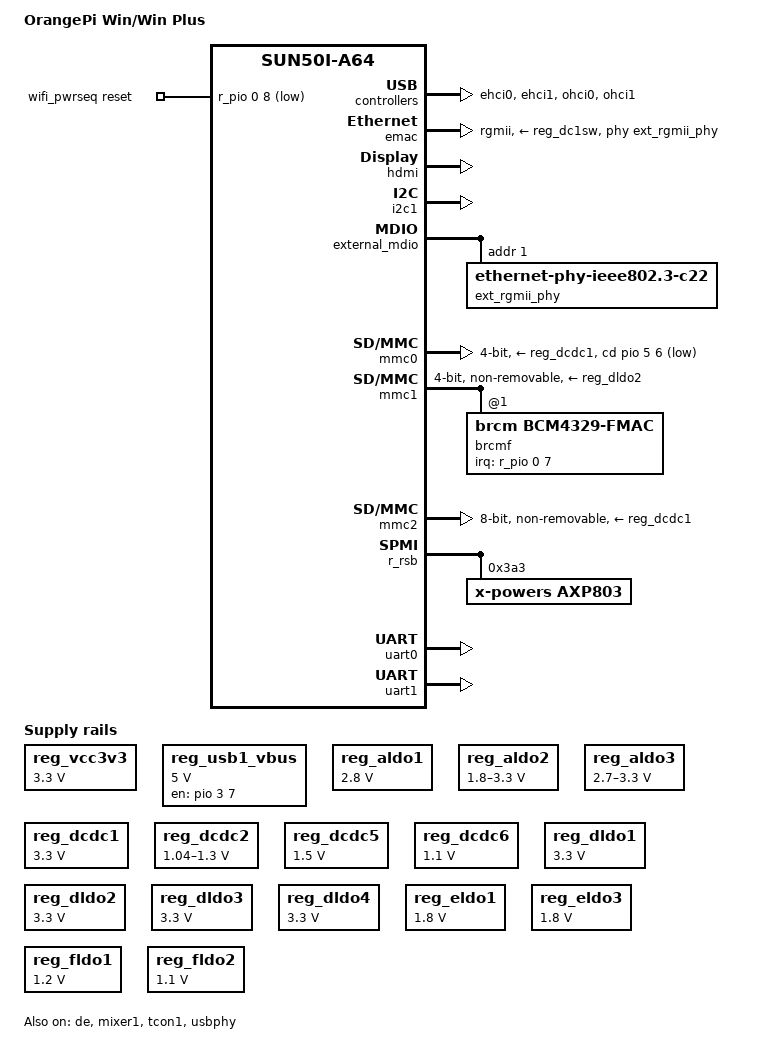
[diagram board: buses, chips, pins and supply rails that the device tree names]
/*
 * Copyright (C) 2017 Jagan Teki <jteki@openedev.com>
 *
 * This file is dual-licensed: you can use it either under the terms
 * of the GPL or the X11 license, at your option. Note that this dual
 * licensing only applies to this file, and not this project as a
 * whole.
 *
 *  a) This library is free software; you can redistribute it and/or
 *     modify it under the terms of the GNU General Public License as
 *     published by the Free Software Foundation; either version 2 of the
 *     License, or (at your option) any later version.
 *
 *     This library is distributed in the hope that it will be useful,
 *     but WITHOUT ANY WARRANTY; without even the implied warranty of
 *     MERCHANTABILITY or FITNESS FOR A PARTICULAR PURPOSE.  See the
 *     GNU General Public License for more details.
 *
 * Or, alternatively,
 *
 *  b) Permission is hereby granted, free of charge, to any person
 *     obtaining a copy of this software and associated documentation
 *     files (the "Software"), to deal in the Software without
 *     restriction, including without limitation the rights to use,
 *     copy, modify, merge, publish, distribute, sublicense, and/or
 *     sell copies of the Software, and to permit persons to whom the
 *     Software is furnished to do so, subject to the following
 *     conditions:
 *
 *     The above copyright notice and this permission notice shall be
 *     included in all copies or substantial portions of the Software.
 *
 *     THE SOFTWARE IS PROVIDED "AS IS", WITHOUT WARRANTY OF ANY KIND,
 *     EXPRESS OR IMPLIED, INCLUDING BUT NOT LIMITED TO THE WARRANTIES
 *     OF MERCHANTABILITY, FITNESS FOR A PARTICULAR PURPOSE AND
 *     NONINFRINGEMENT. IN NO EVENT SHALL THE AUTHORS OR COPYRIGHT
 *     HOLDERS BE LIABLE FOR ANY CLAIM, DAMAGES OR OTHER LIABILITY,
 *     WHETHER IN AN ACTION OF CONTRACT, TORT OR OTHERWISE, ARISING
 *     FROM, OUT OF OR IN CONNECTION WITH THE SOFTWARE OR THE USE OR
 *     OTHER DEALINGS IN THE SOFTWARE.
 */

/dts-v1/;

#include "sun50i-a64.dtsi"

#include <dt-bindings/gpio/gpio.h>

/ {
	model = "OrangePi Win/Win Plus";
	compatible = "xunlong,orangepi-win", "allwinner,sun50i-a64";

	aliases {
		ethernet0 = &emac;
		serial0 = &uart0;
		serial1 = &uart1;
	};

	chosen {
		stdout-path = "serial0:115200n8";
	};

	reg_vcc3v3: vcc3v3 {
		compatible = "regulator-fixed";
		regulator-name = "vcc3v3";
		regulator-min-microvolt = <3300000>;
		regulator-max-microvolt = <3300000>;
	};

	reg_usb1_vbus: usb1-vbus {
		compatible = "regulator-fixed";
		regulator-name = "usb1-vbus";
		regulator-min-microvolt = <5000000>;
		regulator-max-microvolt = <5000000>;
		regulator-boot-on;
		enable-active-high;
		gpio = <&pio 3 7 GPIO_ACTIVE_HIGH>;
		status = "okay";
	};

	wifi_pwrseq: wifi_pwrseq {
		compatible = "mmc-pwrseq-simple";
		reset-gpios = <&r_pio 0 8 GPIO_ACTIVE_LOW>; /* PL8 */
		post-power-on-delay-ms = <50>;
	};
};

&de {
	status = "okay";
};

&ehci0 {
	status = "okay";
};

&ehci1 {
	status = "okay";
};

&emac {
	pinctrl-names = "default";
	pinctrl-0 = <&rgmii_pins>;
	phy-mode = "rgmii";
	phy-handle = <&ext_rgmii_phy>;
	phy-supply = <&reg_dc1sw>;
	status = "okay";
};

&hdmi {
	hvcc-supply = <&reg_dldo1>;
	status = "okay";
};

&i2c1 {
	pinctrl-names = "default";
	pinctrl-0 = <&i2c1_pins>;
	status = "okay";
};

&i2c1_pins {
	bias-pull-up;
};

&external_mdio {
	ext_rgmii_phy: ethernet-phy@1 {
		compatible = "ethernet-phy-ieee802.3-c22";
		reg = <1>;
	};
};

&mixer1 {
	status = "okay";
};

&mmc0 {
	pinctrl-names = "default";
	pinctrl-0 = <&mmc0_pins>;
	vmmc-supply = <&reg_dcdc1>;
	cd-gpios = <&pio 5 6 GPIO_ACTIVE_HIGH>;
	cd-inverted;
	disable-wp;
	bus-width = <4>;
	status = "okay";
};

&mmc1 {
	pinctrl-names = "default";
	pinctrl-0 = <&mmc1_pins>;
	vmmc-supply = <&reg_dldo2>;
	vqmmc-supply = <&reg_dldo4>;
	mmc-pwrseq = <&wifi_pwrseq>;
	bus-width = <4>;
	non-removable;
	status = "okay";

	brcmf: brcmf@1 {
		reg = <1>;
		compatible = "brcm,bcm4329-fmac";
		interrupt-parent = <&r_pio>;
		interrupts = <0 7 IRQ_TYPE_LEVEL_LOW>; /* PL7 / EINT7 */
		interrupt-names = "host-wake";
	};
};

&mmc2 {
	pinctrl-names = "default";
	pinctrl-0 = <&mmc2_pins>;
	vmmc-supply = <&reg_dcdc1>;
	bus-width = <8>;
	non-removable;
	cap-mmc-hw-reset;
	status = "okay";
};

&ohci0 {
	status = "okay";
};

&ohci1 {
	status = "okay";
};

&r_rsb {
        status = "okay";

        axp803: pmic@3a3 {
                compatible = "x-powers,axp803";
                reg = <0x3a3>;
                interrupt-parent = <&r_intc>;
                interrupts = <0 IRQ_TYPE_LEVEL_LOW>;
        };
};

#include "axp803.dtsi"

&reg_aldo1 {
	regulator-min-microvolt = <2800000>;
	regulator-max-microvolt = <2800000>;
	regulator-name = "vcc-csi";
};

&reg_aldo2 {
	regulator-always-on;
	regulator-min-microvolt = <1800000>;
	regulator-max-microvolt = <3300000>;
	regulator-name = "vcc-pl";
};

&reg_aldo3 {
	regulator-always-on;
	regulator-min-microvolt = <2700000>;
	regulator-max-microvolt = <3300000>;
	regulator-name = "vcc-pll-avcc";
};

&reg_dc1sw {
	regulator-always-on;
	regulator-name = "vcc-phy";
};

&reg_dcdc1 {
	regulator-always-on;
	regulator-min-microvolt = <3300000>;
	regulator-max-microvolt = <3300000>;
	regulator-name = "vcc-3v3";
};

&reg_dcdc2 {
	regulator-always-on;
	regulator-min-microvolt = <1040000>;
	regulator-max-microvolt = <1300000>;
	regulator-name = "vdd-cpux";
};

/* DCDC3 is polyphased with DCDC2 */

&reg_dcdc5 {
	regulator-always-on;
	regulator-min-microvolt = <1500000>;
	regulator-max-microvolt = <1500000>;
	regulator-name = "vcc-dram";
};

&reg_dcdc6 {
	regulator-always-on;
	regulator-min-microvolt = <1100000>;
	regulator-max-microvolt = <1100000>;
	regulator-name = "vdd-sys";
};

&reg_dldo1 {
	regulator-min-microvolt = <3300000>;
	regulator-max-microvolt = <3300000>;
	regulator-name = "vcc-hdmi-dsi";
};

&reg_dldo2 {
	regulator-min-microvolt = <3300000>;
	regulator-max-microvolt = <3300000>;
	regulator-name = "vcc-mipi";
};

&reg_dldo3 {
	regulator-min-microvolt = <3300000>;
	regulator-max-microvolt = <3300000>;
	regulator-name = "avdd-csi";
};

&reg_dldo4 {
	regulator-min-microvolt = <3300000>;
	regulator-max-microvolt = <3300000>;
	regulator-name = "vcc-wifi";
};

&reg_eldo1 {
	regulator-min-microvolt = <1800000>;
	regulator-max-microvolt = <1800000>;
	regulator-name = "cpvdd";
};

&reg_eldo3 {
	regulator-min-microvolt = <1800000>;
	regulator-max-microvolt = <1800000>;
	regulator-name = "vdd-1v8-csi";
};

&reg_fldo1 {
	regulator-min-microvolt = <1200000>;
	regulator-max-microvolt = <1200000>;
	regulator-name = "vcc-1v2-hsic";
};

/*
 * The A64 chip cannot work without this regulator off, although
 * it seems to be only driving the AR100 core.
 * Maybe we don't still know well about CPUs domain.
 */
&reg_fldo2 {
	regulator-always-on;
	regulator-min-microvolt = <1100000>;
	regulator-max-microvolt = <1100000>;
	regulator-name = "vdd-cpus";
};

&reg_rtc_ldo {
	regulator-name = "vcc-rtc";
};

&simplefb_hdmi {
	vcc-hdmi-supply = <&reg_dldo1>;
};

&tcon1 {
	status = "okay";
};

&uart0 {
	pinctrl-names = "default";
	pinctrl-0 = <&uart0_pins_a>;
	status = "okay";
};

&uart1 {
	pinctrl-names = "default";
	pinctrl-0 = <&uart1_pins>, <&uart1_rts_cts_pins>;
	status = "okay";
};

&usbphy {
	usb1_vbus-supply = <&reg_usb1_vbus>;
	status = "okay";
};

